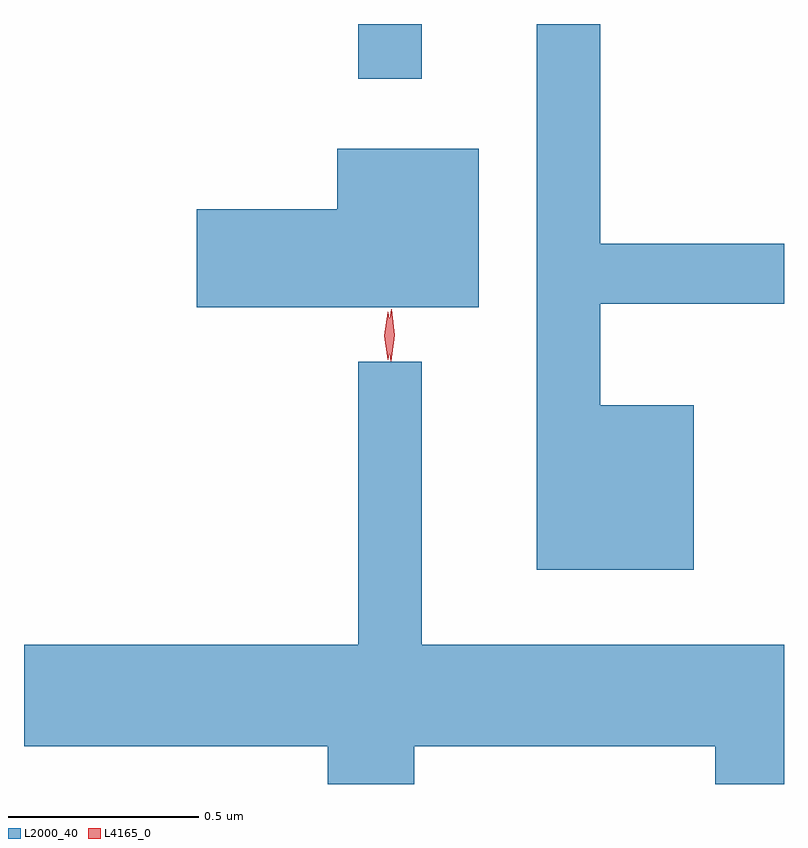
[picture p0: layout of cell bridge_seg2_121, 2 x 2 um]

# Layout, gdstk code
import gdstk
lib = gdstk.Library(unit=1e-6, precision=1e-09)
def R(c, l, rs):  # rectangles x0, y0, x1, y1
    for r in rs: c.add(gdstk.rectangle(r[:2], r[2:], *l))
def P(c, l, *ps):  # polygons
    for p in ps: c.add(gdstk.Polygon(p, *l))
L2000_40 = (2000, 40)
L4165_0 = (4165, 0)

bridge_seg2_121 = lib.new_cell('bridge_seg2_121')
R(bridge_seg2_121, L2000_40, [(908.361,1107.793,908.529,1107.937)])
P(bridge_seg2_121, L2000_40, [(909.244,1106.934),(908.999,1106.934),(908.999,1107.201),(909.482,1107.201),(909.482,1107.359),(908.999,1107.359),(908.999,1107.937),(908.831,1107.937),(908.831,1106.501),(909.244,1106.501)],
  [(908.679,1107.609),(908.306,1107.609),(908.306,1107.449),(907.936,1107.449),(907.936,1107.191),(908.679,1107.191)],
  [(908.509,1106.036),(909.301,1106.036),(909.301,1105.937),(909.482,1105.937),(909.482,1106.304),(908.529,1106.304),(908.529,1107.048),(908.361,1107.048),(908.361,1106.304),(907.482,1106.304),(907.482,1106.036),(908.281,1106.036),(908.281,1105.937),(908.509,1105.937)])
P(bridge_seg2_121, L4165_0, [(908.447,1107.05),(908.447,1107.05),(908.438,1107.118),(908.448,1107.186),(908.449,1107.186),(908.45,1107.186),(908.458,1107.118),(908.448,1107.05)],
  [(908.439,1107.053),(908.43,1107.116),(908.439,1107.179),(908.439,1107.18),(908.44,1107.179),(908.45,1107.116),(908.44,1107.053),(908.44,1107.053)])

lib.write_gds('bridge_seg2_121.gds')
